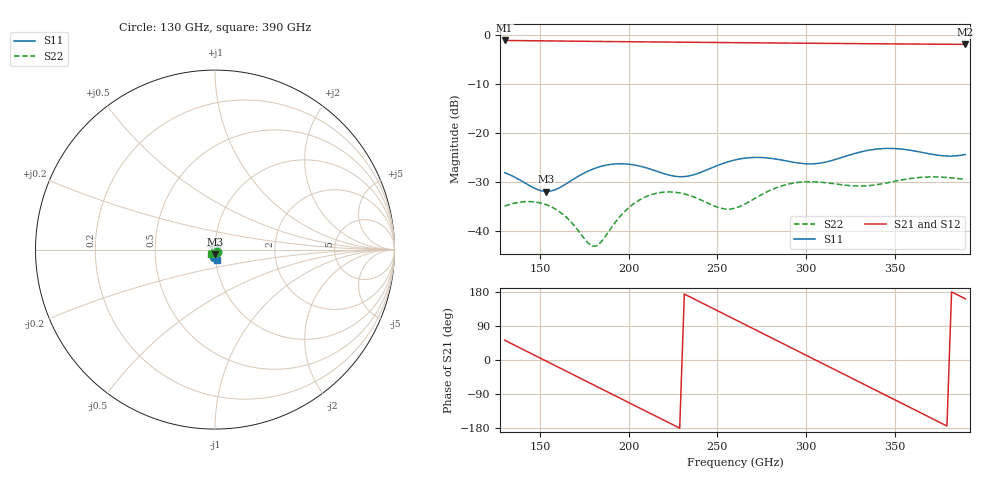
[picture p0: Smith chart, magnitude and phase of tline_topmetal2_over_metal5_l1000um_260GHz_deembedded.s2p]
! Created with skrf 2.0.1 (http://scikit-rf.org).
# GHz S DB R 50.0
!freq dBS11 angS11 dBS21 angS21 dBS12 angS12 dBS22 angS22
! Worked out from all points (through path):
!   101 points, 130 GHz to 390 GHz, reference 50 ohm
!   highest |S21| = -1.15 dB at 130 GHz (marker M1); lowest = -2.0 dB at 390 GHz (marker M2)
!   group delay of S21, straight-line fit = 6.53 ps
!   lowest |S11| = -31.9 dB at 153.4 GHz (marker M3), VSWR 1.05, Z = 50.2 - j2.54 ohm
!   |S11| at or under -10 dB: start of sweep to end of sweep
!   |S22| runs from -43.0 to -28.9 dB; largest |S21 - S12| = 9.6e-14
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130  -28.05 -94.1  -1.15 52.2  -1.15 52.2  -34.88 -45.0
143  -30.47 -98.0  -1.20 21.7  -1.20 21.7  -33.94 -67.8
153.4  -31.90 -85.0  -1.24 -2.8  -1.24 -2.8  -34.57 -92.3
174.2  -28.26 -68.7  -1.32 -51.6  -1.32 -51.6  -41.13 -173.7
182  -27.04 -73.5  -1.35 -70.0  -1.35 -70.0  -42.97 118.8
195  -26.24 -84.9  -1.39 -100.5  -1.39 -100.5  -37.02 33.4
205.4  -26.66 -92.8  -1.43 -124.9  -1.43 -124.9  -33.76 -6.4
218.4  -28.08 -95.0  -1.47 -155.4  -1.47 -155.4  -32.08 -50.8
236.6  -28.50 -79.3  -1.52 161.8  -1.52 161.8  -32.98 -118.4
249.6  -26.67 -74.5  -1.57 131.2  -1.57 131.2  -35.02 177.9
260  -25.47 -78.1  -1.60 106.8  -1.60 106.8  -35.29 114.2
270.4  -24.97 -84.2  -1.63 82.4  -1.63 82.4  -33.46 55.5
280.8  -25.17 -89.2  -1.66 58.0  -1.66 58.0  -31.50 7.6
293.8  -25.99 -89.7  -1.70 27.4  -1.70 27.4  -30.13 -45.5
304.2  -26.26 -84.1  -1.73 3.0  -1.73 3.0  -29.92 -87.8
314.6  -25.59 -78.2  -1.75 -21.5  -1.75 -21.5  -30.25 -132.9
327.6  -24.15 -77.6  -1.79 -52.0  -1.79 -52.0  -30.76 164.7
338  -23.35 -81.8  -1.82 -76.5  -1.82 -76.5  -30.60 112.0
348.4  -23.13 -87.4  -1.85 -100.9  -1.85 -100.9  -29.94 61.2
358.8  -23.49 -91.6  -1.88 -125.3  -1.88 -125.3  -29.26 13.5
371.8  -24.36 -91.3  -1.91 -155.9  -1.91 -155.9  -28.92 -43.6
390  -24.36 -81.3  -1.95 161.3  -1.95 161.3  -29.43 -127.0
